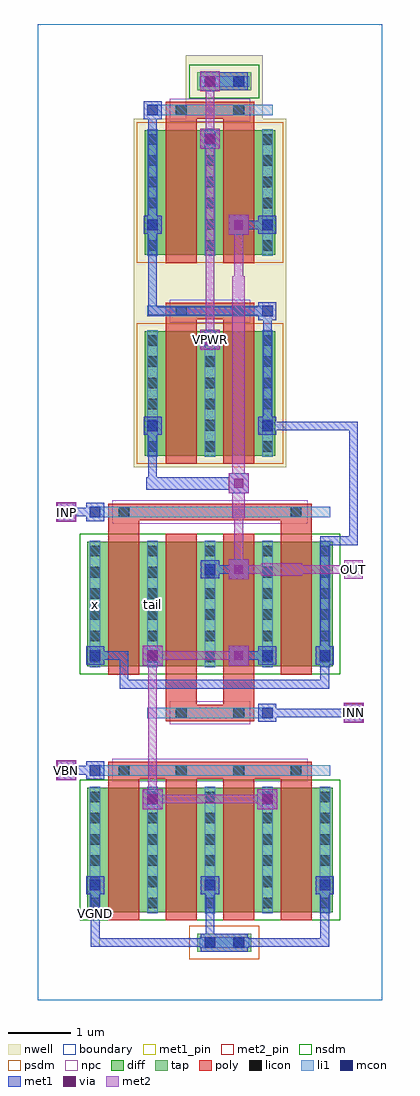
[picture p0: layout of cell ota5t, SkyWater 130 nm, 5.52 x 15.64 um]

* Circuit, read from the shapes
.subckt ota5t INN INP OUT VBN VGND VPWR tail x
XM1 tail VBN VGND VGND sky130_fd_pr__nfet_01v8 w=2 l=0.5 m=4
XM2 tail INP x VGND sky130_fd_pr__nfet_01v8 w=2 l=0.5 m=2
XM3 OUT INN tail VGND sky130_fd_pr__nfet_01v8 w=2 l=0.5 m=2
XM4 VPWR x OUT VPWR sky130_fd_pr__pfet_01v8 w=2 l=0.5 m=2
XM5 VPWR x x VPWR sky130_fd_pr__pfet_01v8 w=2 l=0.5 m=2
.ends

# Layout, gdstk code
import gdstk
lib = gdstk.Library(unit=1e-6, precision=1e-09)
def R(c, l, rs):  # rectangles x0, y0, x1, y1
    for r in rs: c.add(gdstk.rectangle(r[:2], r[2:], *l))
def A(c, l, x, y, w, h, nx, ny, dx, dy):  # array of equal rectangles
    R(c, l, [(x+i*dx, y+j*dy, x+i*dx+w, y+j*dy+h) for i in range(nx) for j in range(ny)])
nwell = (64, 20)
diff = (65, 20)
tap = (65, 44)
poly = (66, 20)
licon = (66, 44)
li1 = (67, 20)
mcon = (67, 44)
met1_pin = (68, 16)
met1 = (68, 20)
via = (68, 44)
met2_pin = (69, 16)
met2 = (69, 20)
nsdm = (93, 44)
psdm = (94, 20)
npc = (95, 20)
boundary = (235, 4)

ota5t = lib.new_cell('ota5t')
R(ota5t, nwell, [(1.535,8.54,3.985,14.12), (2.375,14.12,3.605,15.14)])
R(ota5t, diff, [(0.795,1.405,4.725,3.405), (0.795,5.345,4.725,7.345), (1.715,8.72,3.805,10.72), (1.715,11.94,3.805,13.94)])
R(ota5t, tap, [(2.555,0.775,3.425,1.065), (2.555,14.575,3.425,14.865)])
A(ota5t, poly, 1.13, 1.275, 0.5, 2.405, 4, 1, 0.92, 0)
R(ota5t, poly, [(1.13,3.545,4.39,3.815), (2.05,4.465,3.47,4.735), (2.05,4.6,2.55,7.475), (2.97,4.6,3.47,7.475), (1.13,5.215,1.63,7.82), (3.89,5.215,4.39,7.82), (1.13,7.685,4.39,7.955), (2.05,8.59,2.55,11.04), (2.97,8.59,3.47,11.04), (2.05,10.905,3.47,11.175), (2.05,11.81,2.55,14.26), (2.97,11.81,3.47,14.26), (2.05,14.125,3.47,14.395)])
A(ota5t, licon, 0.835, 1.47, 0.17, 0.17, 5, 6, 0.92, 0.34)
A(ota5t, licon, 1.295, 3.595, 0.17, 0.17, 4, 1, 0.92, 0)
A(ota5t, licon, 0.835, 5.41, 0.17, 0.17, 5, 6, 0.92, 0.34)
A(ota5t, licon, 1.755, 8.785, 0.17, 0.17, 3, 6, 0.92, 0.34)
A(ota5t, licon, 1.755, 12.005, 0.17, 0.17, 3, 6, 0.92, 0.34)
R(ota5t, licon, [(2.675,0.835,2.845,1.005), (3.135,0.835,3.305,1.005), (2.215,4.515,2.385,4.685), (3.135,4.515,3.305,4.685), (1.295,7.735,1.465,7.905), (4.055,7.735,4.225,7.905), (2.215,10.955,2.385,11.125), (3.135,10.955,3.305,11.125), (2.215,14.175,2.385,14.345), (3.135,14.175,3.305,14.345), (2.675,14.635,2.845,14.805), (3.135,14.635,3.305,14.805)])
A(ota5t, li1, 0.835, 1.39, 0.17, 2.03, 5, 2, 0.92, 3.94)
A(ota5t, li1, 1.755, 8.705, 0.17, 2.03, 3, 2, 0.92, 3.22)
R(ota5t, li1, [(2.595,0.835,3.385,1.005), (0.835,3.595,4.685,3.765), (1.755,4.515,3.765,4.685), (0.835,7.735,4.685,7.905), (1.755,10.955,3.765,11.125), (1.755,14.175,3.765,14.345), (2.595,14.635,3.385,14.805)])
A(ota5t, mcon, 0.835, 1.755, 0.17, 0.17, 3, 1, 1.84, 0)
R(ota5t, mcon, [(2.675,0.835,2.845,1.005), (3.135,0.835,3.305,1.005), (1.755,3.135,1.925,3.305), (3.595,3.135,3.765,3.305), (0.835,3.595,1.005,3.765), (3.595,4.515,3.765,4.685), (0.835,5.435,1.005,5.605), (1.755,5.435,1.925,5.605), (3.595,5.435,3.765,5.605), (4.515,5.435,4.685,5.605), (2.675,6.815,2.845,6.985), (0.835,7.735,1.005,7.905), (1.755,9.115,1.925,9.285), (3.595,9.115,3.765,9.285), (2.675,10.495,2.845,10.665), (3.595,10.955,3.765,11.125), (1.755,12.335,1.925,12.505), (3.595,12.335,3.765,12.505), (2.675,13.715,2.845,13.885), (1.755,14.175,1.925,14.345), (2.675,14.635,2.845,14.805), (3.135,14.635,3.305,14.805)])
R(ota5t, met1_pin, [(0.85,0.85,0.99,1.91), (2.615,10.435,2.905,10.725)])
A(ota5t, met1, 0.85, 0.85, 0.14, 1.06, 3, 1, 1.84, 0)
A(ota5t, met1, 0.775, 1.695, 0.29, 0.29, 3, 1, 1.84, 0)
A(ota5t, met1, 3.06, 5.36, 0.32, 0.32, 1, 3, 0, 1.38)
R(ota5t, met1, [(2.615,0.775,3.365,1.065), (0.85,0.85,2.83,0.99), (2.69,0.85,2.83,0.99), (2.69,0.85,4.67,0.99), (1.68,3.06,2,3.38), (3.52,3.06,3.84,3.38), (1.695,3.075,1.985,3.365), (3.535,3.075,3.825,3.365), (0.3,3.52,0.62,3.84), (0.775,3.535,1.065,3.825), (0.39,3.61,0.99,3.75), (4.9,4.44,5.22,4.76), (3.535,4.455,3.825,4.745), (3.61,4.53,5.13,4.67), (1.31,4.99,1.45,5.59), (1.31,4.99,4.67,5.13), (4.53,4.99,4.67,5.59), (1.68,5.36,2,5.68), (0.775,5.375,1.065,5.665), (1.695,5.375,1.985,5.665), (3.535,5.375,3.825,5.665), (4.455,5.375,4.745,5.665), (0.85,5.45,1.45,5.59), (3.15,5.45,3.75,5.59), (4.53,5.45,4.67,7.43), (2.615,6.755,2.905,7.045), (2.69,6.83,3.29,6.97), (4.53,7.29,5.13,7.43), (4.99,7.29,5.13,9.27), (0.3,7.66,0.62,7.98), (0.775,7.675,1.065,7.965), (0.39,7.75,0.99,7.89), (1.74,8.18,3.32,8.38), (1.77,8.21,1.91,9.27), (1.695,9.055,1.985,9.345), (3.535,9.055,3.825,9.345), (3.61,9.13,5.13,9.27), (3.61,9.13,3.75,11.11), (2.6,10.42,2.92,10.74), (2.615,10.435,2.905,10.725), (3.535,10.895,3.825,11.185), (1.77,10.97,3.75,11.11), (1.77,10.97,1.91,12.49), (3.06,12.26,3.38,12.58), (1.695,12.275,1.985,12.565), (3.535,12.275,3.825,12.565), (1.77,12.35,1.91,14.33), (3.15,12.35,3.75,12.49), (2.6,13.64,2.92,13.96), (2.615,13.655,2.905,13.945), (1.695,14.115,1.985,14.405), (2.6,14.56,2.92,14.88), (2.615,14.575,3.365,14.865), (2.69,14.65,2.83,14.79)])
A(ota5t, via, 3.145, 5.445, 0.15, 0.15, 1, 3, 0, 1.38)
R(ota5t, via, [(1.765,3.145,1.915,3.295), (3.605,3.145,3.755,3.295), (0.385,3.605,0.535,3.755), (4.985,4.525,5.135,4.675), (1.765,5.445,1.915,5.595), (0.385,7.745,0.535,7.895), (2.685,10.505,2.835,10.655), (3.145,12.345,3.295,12.495), (2.685,13.725,2.835,13.875), (2.685,14.645,2.835,14.795)])
R(ota5t, met2_pin, [(0.31,3.53,0.61,3.83), (4.91,4.45,5.21,4.75), (4.91,6.75,5.21,7.05), (0.31,7.67,0.61,7.97)])
A(ota5t, met2, 3.06, 5.36, 0.32, 0.32, 1, 3, 0, 1.38)
R(ota5t, met2, [(1.68,3.06,2,3.38), (3.52,3.06,3.84,3.38), (1.77,3.15,1.91,5.59), (1.77,3.15,3.75,3.29), (0.3,3.52,0.62,3.84), (0.31,3.53,0.61,3.83), (0.39,3.61,0.53,3.75), (4.9,4.44,5.22,4.76), (4.91,4.45,5.21,4.75), (4.99,4.53,5.13,4.67), (1.68,5.36,2,5.68), (1.77,5.45,3.29,5.59), (4.91,6.75,5.21,7.05), (3.58,6.8,4.24,7), (3.15,6.83,3.75,6.97), (3.15,6.83,3.29,7.89), (4.07,6.83,5.13,6.97), (4.99,6.83,5.13,6.97), (0.3,7.66,0.62,7.98), (0.31,7.67,0.61,7.97), (3.12,7.72,3.32,8.38), (0.39,7.75,0.53,7.89), (3.12,8.18,3.32,11.6), (2.6,10.42,2.92,10.74), (2.69,10.51,2.83,13.87), (3.15,11.43,3.29,12.49), (3.06,12.26,3.38,12.58), (2.6,13.64,2.92,13.96), (2.69,13.73,2.83,14.79), (2.6,14.56,2.92,14.88)])
R(ota5t, nsdm, [(0.67,1.28,4.85,3.53), (0.67,5.22,4.85,7.47), (2.43,14.45,3.55,14.99)])
R(ota5t, psdm, [(2.43,0.65,3.55,1.19), (1.59,8.595,3.93,10.845), (1.59,11.815,3.93,14.065)])
R(ota5t, npc, [(1.195,3.495,4.325,3.865), (2.115,4.415,3.405,4.785), (1.195,7.635,4.325,8.005), (2.115,10.855,3.405,11.225), (2.115,14.075,3.405,14.445)])
R(ota5t, boundary, [(0,0,5.52,15.64)])
ota5t.add(gdstk.Label('x', (0.92,6.345), layer=67, texttype=5))
ota5t.add(gdstk.Label('tail', (1.84,6.345), layer=67, texttype=5))
ota5t.add(gdstk.Label('VPWR', (2.76,10.58), layer=68, texttype=5))
ota5t.add(gdstk.Label('VGND', (0.92,1.38), layer=68, texttype=5))
ota5t.add(gdstk.Label('INP', (0.46,7.82), layer=69, texttype=5))
ota5t.add(gdstk.Label('INN', (5.06,4.6), layer=69, texttype=5))
ota5t.add(gdstk.Label('VBN', (0.46,3.68), layer=69, texttype=5))
ota5t.add(gdstk.Label('OUT', (5.06,6.9), layer=69, texttype=5))
ota5t.add(gdstk.Label('VPWR', (2.76,10.58), layer=68, texttype=16))
ota5t.add(gdstk.Label('VGND', (0.92,1.38), layer=68, texttype=16))
ota5t.add(gdstk.Label('INP', (0.46,7.82), layer=69, texttype=16))
ota5t.add(gdstk.Label('INN', (5.06,4.6), layer=69, texttype=16))
ota5t.add(gdstk.Label('VBN', (0.46,3.68), layer=69, texttype=16))
ota5t.add(gdstk.Label('OUT', (5.06,6.9), layer=69, texttype=16))

lib.write_gds('ota5t.gds')
